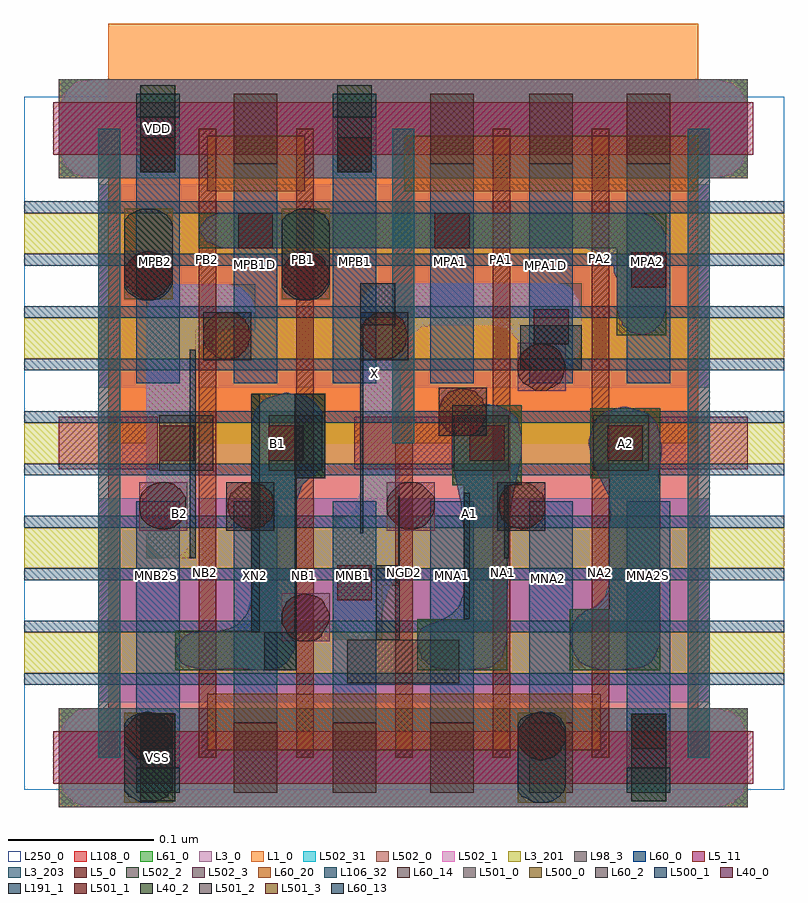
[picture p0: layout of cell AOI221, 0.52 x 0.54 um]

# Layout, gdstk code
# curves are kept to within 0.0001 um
import gdstk
lib = gdstk.Library(unit=1e-6, precision=1e-09)
def R(c, l, rs):  # rectangles x0, y0, x1, y1
    for r in rs: c.add(gdstk.rectangle(r[:2], r[2:], *l))
def A(c, l, x, y, w, h, nx, ny, dx, dy):  # array of equal rectangles
    R(c, l, [(x+i*dx, y+j*dy, x+i*dx+w, y+j*dy+h) for i in range(nx) for j in range(ny)])
def P(c, l, *ps):  # polygons
    for p in ps: c.add(gdstk.Polygon(p, *l))
L1_0 = (1, 0)
L3_0 = (3, 0)
L3_201 = (3, 201)
L3_203 = (3, 203)
L5_0 = (5, 0)
L5_11 = (5, 11)
L40_0 = (40, 0)
L40_2 = (40, 2)
L60_0 = (60, 0)
L60_2 = (60, 2)
L60_13 = (60, 13)
L60_14 = (60, 14)
L60_20 = (60, 20)
L61_0 = (61, 0)
L98_3 = (98, 3)
L106_32 = (106, 32)
L108_0 = (108, 0)
L191_1 = (191, 1)
L250_0 = (250, 0)
L500_0 = (500, 0)
L500_1 = (500, 1)
L501_0 = (501, 0)
L501_1 = (501, 1)
L501_2 = (501, 2)
L501_3 = (501, 3)
L502_0 = (502, 0)
L502_1 = (502, 1)
L502_2 = (502, 2)
L502_3 = (502, 3)
L502_31 = (502, 31)

aoi221 = lib.new_cell('AOI221')
R(aoi221, L1_0, [(0,0.216,0.405,0.504)])
R(aoi221, L3_0, [(-0.007,0.038,0.413,0.178), (-0.007,0.254,0.413,0.394)])
A(aoi221, L3_201, -0.058, 0.058, 0.522, 0.028, 1, 5, 0, 0.072)
A(aoi221, L3_203, -0.058, 0.05, 0.522, 0.008, 1, 10, 0, 0.036)
R(aoi221, L5_0, [(-0.007,0,0.008,0.432), (0.062,0,0.074,0.432), (0.129,0,0.141,0.432), (0.264,0,0.276,0.432), (0.332,0,0.344,0.432), (0.398,0,0.413,0.432)])
P(aoi221, L5_0, [(0.21,0.432),(0.21,0.216),(0.209,0.216),(0.209,0),(0.197,0),(0.197,0.216),(0.195,0.216),(0.195,0.432)])
R(aoi221, L5_11, [(-0.038,-0.018,0.443,0.018), (-0.034,0.198,0.034,0.234), (0.169,0.198,0.236,0.234), (0.371,0.198,0.439,0.234), (-0.038,0.414,0.443,0.45)])
R(aoi221, L40_0, [(0.022,0.006,0.046,0.03), (0.359,0.006,0.383,0.03), (0.157,0.108,0.181,0.132), (0.035,0.204,0.059,0.228), (0.11,0.204,0.134,0.228), (0.248,0.204,0.272,0.228), (0.343,0.204,0.367,0.228), (0.292,0.284,0.316,0.308), (0.359,0.323,0.383,0.347), (0.089,0.35,0.113,0.374), (0.224,0.35,0.248,0.374), (0.022,0.402,0.046,0.426), (0.157,0.402,0.181,0.426)])
R(aoi221, L40_2, [(0.022,-0.03,0.046,0.03), (0.359,-0.03,0.383,0.03), (0.022,0.402,0.046,0.462), (0.157,0.402,0.181,0.462)])
R(aoi221, L60_0, [(0.019,-0.007,0.049,0.176), (0.356,-0.007,0.386,0.176), (0.086,0.024,0.116,0.176), (0.154,0.024,0.184,0.176), (0.221,0.024,0.251,0.176), (0.289,0.024,0.319,0.176), (0.019,0.257,0.049,0.44), (0.086,0.257,0.116,0.408), (0.154,0.257,0.184,0.44), (0.221,0.257,0.251,0.408), (0.289,0.257,0.319,0.408), (0.356,0.257,0.386,0.408)])
R(aoi221, L60_2, [(0.164,0.051,0.241,0.081), (0.035,0.197,0.072,0.235), (0.11,0.197,0.147,0.235), (0.237,0.197,0.275,0.235), (0.333,0.197,0.371,0.235)])
R(aoi221, L60_13, [(0.019,-0.024,0.049,-0.007), (0.356,-0.024,0.386,-0.007), (0.019,0.44,0.049,0.456), (0.154,0.44,0.184,0.456)])
R(aoi221, L60_14, [(0.086,-0.024,0.116,0.024), (0.154,-0.024,0.184,0.024), (0.221,-0.024,0.251,0.024), (0.289,-0.024,0.319,0.024), (0.086,0.408,0.116,0.456), (0.221,0.408,0.251,0.456), (0.289,0.408,0.319,0.456), (0.356,0.408,0.386,0.456)])
R(aoi221, L60_20, [(0.068,0.005,0.338,0.044), (0.068,0.389,0.135,0.427), (0.203,0.389,0.405,0.427)])
R(aoi221, L61_0, [(-0.034,-0.034,0.439,0.034), (-0.034,0.398,0.439,0.466)])
P(aoi221, L61_0, [(0.149,0.25),(0.149,0.192),(0.129,0.192),(0.129,0.06),(0.046,0.06),(0.046,0.087),(0.098,0.087),(0.098,0.25)],
  [(0.101,0.325),(0.101,0.294),(0.06,0.294),(0.06,0.137),(0.026,0.137),(0.026,0.325)],
  [(0.379,0.24),(0.379,0.06),(0.317,0.06),(0.317,0.102),(0.344,0.102),(0.344,0.192),(0.331,0.192),(0.331,0.24)],
  [(0.284,0.242),(0.284,0.187),(0.275,0.187),(0.275,0.137),(0.274,0.137),(0.274,0.06),(0.212,0.06),(0.212,0.095),(0.244,0.095),(0.244,0.187),(0.236,0.187),(0.236,0.242)],
  [(0.383,0.374),(0.383,0.29),(0.349,0.29),(0.349,0.35),(0.062,0.35),(0.062,0.374)],
  [(0.325,0.326),(0.325,0.266),(0.283,0.266),(0.283,0.297),(0.2,0.297),(0.2,0.118),(0.188,0.118),(0.188,0.081),(0.154,0.081),(0.154,0.165),(0.173,0.165),(0.173,0.326)])
R(aoi221, L98_3, [(-0.034,-0.034,0.439,0.034), (-0.034,0.398,0.439,0.466)])
R(aoi221, L106_32, [(-0.007,0,0.008,0.432), (0.398,0,0.413,0.432), (0.195,0.216,0.21,0.432)])
R(aoi221, L108_0, [(0,0,0.405,0.432)])
R(aoi221, L191_1, [(0.098,0.086,0.104,0.25), (0.244,0.095,0.248,0.182), (0.056,0.137,0.06,0.28), (0.272,0.137,0.275,0.187), (0.283,0.266,0.325,0.297)])
P(aoi221, L191_1, [(0.149,0.25),(0.149,0.192),(0.129,0.192),(0.129,0.06),(0.107,0.06),(0.107,0.086),(0.128,0.086),(0.128,0.25)],
  [(0.197,0.326),(0.197,0.297),(0.175,0.297),(0.175,0.154),(0.173,0.154),(0.173,0.326)],
  [(0.2,0.18),(0.2,0.081),(0.184,0.081),(0.184,0.132),(0.199,0.132),(0.199,0.18)])
R(aoi221, L250_0, [(-0.058,-0.022,0.464,0.454)])
R(aoi221, L500_0, [(0.011,-0.031,0.044,0.031), (0.281,-0.031,0.314,0.031), (0.011,0.315,0.044,0.377), (0.119,0.315,0.152,0.377)])
P(aoi221, L500_1, [(0.027,0.377),(0.023,0.377),(0.02,0.376),(0.014,0.373),(0.013,0.371),(0.011,0.369),(0.011,0.323),(0.013,0.32),(0.014,0.319),(0.02,0.315),(0.023,0.314),(0.031,0.314),(0.035,0.315),(0.038,0.317),(0.041,0.32),(0.043,0.323),(0.044,0.326),(0.044,0.365),(0.043,0.369),(0.041,0.371),(0.04,0.373),(0.038,0.374),(0.035,0.376),(0.031,0.377)],
  [(0.027,0.032),(0.023,0.031),(0.017,0.029),(0.014,0.027),(0.013,0.026),(0.011,0.023),(0.011,-0.023),(0.013,-0.025),(0.014,-0.027),(0.017,-0.028),(0.02,-0.03),(0.023,-0.031),(0.031,-0.031),(0.034,-0.03),(0.038,-0.028),(0.041,-0.027),(0.041,-0.025),(0.043,-0.023),(0.044,-0.019),(0.044,0.02),(0.043,0.023),(0.041,0.026),(0.041,0.027),(0.038,0.029),(0.035,0.03)],
  [(0.297,0.032),(0.293,0.031),(0.287,0.029),(0.284,0.027),(0.283,0.026),(0.281,0.023),(0.281,-0.023),(0.283,-0.025),(0.284,-0.027),(0.287,-0.028),(0.29,-0.03),(0.293,-0.031),(0.301,-0.031),(0.305,-0.03),(0.308,-0.028),(0.31,-0.027),(0.311,-0.025),(0.313,-0.023),(0.314,-0.019),(0.314,0.02),(0.313,0.023),(0.311,0.026),(0.311,0.027),(0.305,0.031),(0.301,0.031)],
  [(0.135,0.377),(0.131,0.377),(0.128,0.376),(0.125,0.374),(0.122,0.373),(0.121,0.371),(0.119,0.369),(0.119,0.323),(0.121,0.32),(0.122,0.319),(0.128,0.315),(0.131,0.314),(0.139,0.314),(0.143,0.315),(0.146,0.317),(0.149,0.32),(0.151,0.323),(0.152,0.326),(0.152,0.365),(0.151,0.369),(0.149,0.371),(0.149,0.373),(0.146,0.374),(0.143,0.376),(0.139,0.377)])
R(aoi221, L501_0, [(0.011,-0.002,0.044,0.031), (0.281,-0.002,0.314,0.031), (0.119,0.08,0.152,0.113), (0.021,0.156,0.054,0.189), (0.191,0.156,0.224,0.189), (0.281,0.252,0.314,0.285), (0.011,0.315,0.044,0.348), (0.119,0.315,0.152,0.348)])
P(aoi221, L501_1, [(0.297,0.031),(0.293,0.031),(0.287,0.027),(0.284,0.023),(0.281,0.02),(0.281,0.009),(0.283,0.007),(0.284,0.005),(0.287,0.002),(0.29,0),(0.293,-0.001),(0.297,-0.002),(0.305,0),(0.308,0.002),(0.311,0.005),(0.311,0.007),(0.313,0.009),(0.314,0.013),(0.314,0.017),(0.313,0.02),(0.311,0.022),(0.311,0.023),(0.308,0.027),(0.305,0.029),(0.301,0.031)],
  [(0.207,0.189),(0.203,0.189),(0.2,0.188),(0.194,0.182),(0.192,0.179),(0.191,0.175),(0.191,0.171),(0.192,0.167),(0.194,0.164),(0.2,0.158),(0.203,0.157),(0.211,0.157),(0.215,0.158),(0.218,0.16),(0.221,0.164),(0.223,0.167),(0.224,0.171),(0.224,0.179),(0.215,0.188),(0.211,0.189)],
  [(0.135,0.348),(0.131,0.347),(0.128,0.346),(0.125,0.344),(0.122,0.341),(0.121,0.339),(0.119,0.337),(0.119,0.326),(0.121,0.323),(0.122,0.323),(0.125,0.319),(0.131,0.315),(0.139,0.315),(0.143,0.317),(0.146,0.319),(0.149,0.323),(0.151,0.326),(0.152,0.329),(0.152,0.333),(0.151,0.337),(0.149,0.339),(0.149,0.341),(0.146,0.344),(0.143,0.346)],
  [(0.297,0.285),(0.293,0.284),(0.29,0.283),(0.287,0.281),(0.285,0.279),(0.283,0.276),(0.282,0.275),(0.281,0.272),(0.281,0.265),(0.282,0.261),(0.283,0.26),(0.285,0.257),(0.287,0.256),(0.293,0.252),(0.301,0.252),(0.304,0.254),(0.305,0.254),(0.308,0.256),(0.31,0.257),(0.312,0.261),(0.314,0.269),(0.312,0.275),(0.31,0.279),(0.308,0.281),(0.305,0.283)],
  [(0.027,0.031),(0.023,0.031),(0.017,0.027),(0.014,0.023),(0.011,0.02),(0.011,0.009),(0.013,0.007),(0.014,0.005),(0.02,-0.001),(0.025,-0.001),(0.027,-0.002),(0.035,0),(0.038,0.002),(0.041,0.005),(0.041,0.007),(0.043,0.009),(0.044,0.013),(0.044,0.017),(0.043,0.02),(0.041,0.022),(0.041,0.023),(0.038,0.027),(0.035,0.029),(0.031,0.031)],
  [(0.038,0.189),(0.035,0.189),(0.031,0.188),(0.027,0.186),(0.023,0.182),(0.022,0.179),(0.021,0.175),(0.021,0.171),(0.022,0.167),(0.023,0.164),(0.027,0.16),(0.031,0.158),(0.035,0.157),(0.041,0.157),(0.045,0.158),(0.047,0.16),(0.049,0.161),(0.053,0.167),(0.053,0.179),(0.049,0.185),(0.048,0.185),(0.045,0.188),(0.041,0.189)],
  [(0.027,0.348),(0.023,0.347),(0.02,0.346),(0.017,0.344),(0.014,0.341),(0.013,0.339),(0.011,0.337),(0.011,0.326),(0.013,0.323),(0.014,0.323),(0.017,0.319),(0.023,0.315),(0.031,0.315),(0.035,0.317),(0.038,0.319),(0.041,0.323),(0.043,0.326),(0.044,0.329),(0.044,0.333),(0.043,0.337),(0.041,0.339),(0.041,0.341),(0.038,0.344),(0.035,0.346)],
  [(0.135,0.113),(0.131,0.112),(0.128,0.111),(0.126,0.11),(0.125,0.109),(0.122,0.107),(0.121,0.104),(0.12,0.103),(0.119,0.099),(0.119,0.092),(0.121,0.089),(0.123,0.085),(0.125,0.083),(0.128,0.081),(0.131,0.08),(0.139,0.08),(0.143,0.081),(0.146,0.083),(0.149,0.089),(0.151,0.092),(0.152,0.095),(0.152,0.099),(0.15,0.103),(0.149,0.104),(0.148,0.107),(0.146,0.109),(0.144,0.11),(0.143,0.111)])
R(aoi221, L501_2, [(0.081,0.156,0.114,0.189), (0.267,0.156,0.3,0.189), (0.227,0.221,0.26,0.254), (0.065,0.273,0.098,0.306), (0.173,0.273,0.206,0.306)])
P(aoi221, L501_3, [(0.099,0.189),(0.095,0.189),(0.092,0.188),(0.089,0.186),(0.085,0.182),(0.084,0.182),(0.083,0.179),(0.082,0.175),(0.082,0.171),(0.083,0.167),(0.084,0.164),(0.085,0.164),(0.087,0.161),(0.089,0.16),(0.092,0.158),(0.095,0.157),(0.099,0.157),(0.107,0.159),(0.108,0.161),(0.11,0.162),(0.112,0.164),(0.113,0.167),(0.114,0.171),(0.114,0.175),(0.113,0.179),(0.112,0.182),(0.11,0.184),(0.108,0.185),(0.107,0.187)],
  [(0.081,0.306),(0.077,0.306),(0.074,0.305),(0.071,0.302),(0.069,0.301),(0.066,0.297),(0.065,0.293),(0.065,0.287),(0.066,0.283),(0.067,0.282),(0.069,0.279),(0.071,0.278),(0.074,0.275),(0.077,0.274),(0.081,0.273),(0.089,0.275),(0.092,0.278),(0.094,0.279),(0.095,0.282),(0.096,0.283),(0.097,0.287),(0.098,0.29),(0.097,0.293),(0.096,0.297),(0.095,0.298),(0.094,0.301),(0.092,0.302),(0.089,0.305),(0.085,0.306)],
  [(0.189,0.306),(0.185,0.306),(0.182,0.305),(0.179,0.302),(0.177,0.301),(0.175,0.298),(0.174,0.297),(0.173,0.293),(0.173,0.287),(0.174,0.283),(0.175,0.282),(0.177,0.279),(0.179,0.278),(0.182,0.275),(0.185,0.274),(0.193,0.274),(0.197,0.275),(0.2,0.278),(0.202,0.279),(0.203,0.282),(0.204,0.283),(0.205,0.287),(0.206,0.29),(0.205,0.293),(0.204,0.297),(0.203,0.298),(0.202,0.301),(0.2,0.302),(0.197,0.305),(0.193,0.306)],
  [(0.283,0.189),(0.275,0.187),(0.27,0.182),(0.269,0.179),(0.268,0.175),(0.268,0.171),(0.269,0.167),(0.27,0.164),(0.272,0.162),(0.274,0.161),(0.275,0.159),(0.283,0.157),(0.287,0.157),(0.29,0.158),(0.293,0.16),(0.294,0.161),(0.297,0.163),(0.298,0.164),(0.299,0.167),(0.3,0.171),(0.3,0.175),(0.299,0.179),(0.298,0.182),(0.297,0.182),(0.293,0.186),(0.29,0.188),(0.287,0.189)],
  [(0.243,0.254),(0.239,0.253),(0.233,0.251),(0.233,0.25),(0.23,0.247),(0.228,0.243),(0.227,0.239),(0.227,0.233),(0.229,0.23),(0.229,0.229),(0.232,0.225),(0.233,0.224),(0.236,0.222),(0.239,0.221),(0.247,0.221),(0.251,0.222),(0.254,0.224),(0.254,0.225),(0.257,0.229),(0.259,0.233),(0.26,0.236),(0.26,0.239),(0.257,0.245),(0.257,0.247),(0.254,0.249),(0.253,0.251),(0.251,0.252)])
R(aoi221, L502_0, [(-0.034,-0.034,0.439,0.034), (-0.034,0.398,0.439,0.466)])
P(aoi221, L502_0, [(0.101,0.325),(0.026,0.325),(0.026,0.137),(0.06,0.137),(0.06,0.294),(0.101,0.294)],
  [(0.325,0.326),(0.173,0.326),(0.173,0.165),(0.154,0.165),(0.154,0.081),(0.188,0.081),(0.188,0.118),(0.2,0.118),(0.2,0.297),(0.283,0.297),(0.283,0.266),(0.325,0.266)])
P(aoi221, L502_1, [(0.237,0.326),(0.19,0.326),(0.187,0.325),(0.183,0.324),(0.181,0.323),(0.177,0.319),(0.173,0.311),(0.173,0.182),(0.172,0.179),(0.17,0.175),(0.169,0.171),(0.165,0.167),(0.158,0.161),(0.155,0.157),(0.154,0.153),(0.154,0.099),(0.155,0.095),(0.156,0.092),(0.158,0.089),(0.161,0.085),(0.162,0.085),(0.165,0.083),(0.173,0.081),(0.176,0.081),(0.182,0.085),(0.183,0.086),(0.185,0.089),(0.187,0.095),(0.188,0.103),(0.19,0.107),(0.192,0.113),(0.196,0.121),(0.197,0.125),(0.199,0.128),(0.2,0.131),(0.2,0.135),(0.201,0.139),(0.201,0.149),(0.2,0.157),(0.2,0.236),(0.201,0.243),(0.2,0.254),(0.2,0.275),(0.201,0.279),(0.205,0.287),(0.209,0.291),(0.212,0.293),(0.215,0.296),(0.219,0.296),(0.223,0.297),(0.266,0.297),(0.269,0.296),(0.273,0.295),(0.275,0.293),(0.277,0.292),(0.278,0.29),(0.281,0.287),(0.282,0.283),(0.286,0.275),(0.288,0.272),(0.291,0.269),(0.293,0.269),(0.295,0.267),(0.299,0.266),(0.305,0.266),(0.309,0.267),(0.313,0.269),(0.317,0.27),(0.322,0.275),(0.325,0.287),(0.325,0.305),(0.323,0.311),(0.323,0.315),(0.32,0.319),(0.32,0.32),(0.317,0.323),(0.313,0.325),(0.309,0.326)],
  [(0.41,0.466),(-0.011,0.466),(-0.015,0.465),(-0.019,0.465),(-0.022,0.464),(-0.024,0.463),(-0.025,0.461),(-0.028,0.459),(-0.029,0.458),(-0.031,0.455),(-0.033,0.449),(-0.034,0.445),(-0.034,0.419),(-0.032,0.413),(-0.031,0.409),(-0.029,0.407),(-0.028,0.405),(-0.025,0.403),(-0.024,0.401),(-0.022,0.401),(-0.019,0.399),(-0.015,0.399),(-0.011,0.398),(0.419,0.398),(0.42,0.399),(0.425,0.4),(0.428,0.401),(0.429,0.401),(0.431,0.404),(0.434,0.405),(0.436,0.409),(0.437,0.413),(0.439,0.419),(0.439,0.445),(0.438,0.449),(0.436,0.455),(0.434,0.459),(0.431,0.461),(0.428,0.464),(0.425,0.464),(0.421,0.465),(0.419,0.466)],
  [(0.079,0.325),(0.043,0.325),(0.039,0.323),(0.035,0.322),(0.032,0.319),(0.029,0.315),(0.029,0.314),(0.028,0.311),(0.026,0.308),(0.026,0.153),(0.027,0.149),(0.031,0.143),(0.032,0.141),(0.035,0.139),(0.039,0.137),(0.047,0.137),(0.053,0.141),(0.054,0.143),(0.057,0.146),(0.059,0.149),(0.059,0.153),(0.06,0.157),(0.06,0.161),(0.061,0.164),(0.06,0.182),(0.06,0.272),(0.061,0.275),(0.063,0.283),(0.065,0.284),(0.065,0.287),(0.068,0.289),(0.07,0.29),(0.071,0.291),(0.075,0.293),(0.078,0.293),(0.086,0.296),(0.089,0.296),(0.092,0.297),(0.093,0.298),(0.097,0.3),(0.098,0.301),(0.1,0.305),(0.101,0.308),(0.1,0.311),(0.098,0.315),(0.097,0.318),(0.096,0.319),(0.093,0.321),(0.092,0.323),(0.089,0.323),(0.083,0.325)],
  [(-0.004,0.034),(-0.012,0.034),(-0.016,0.033),(-0.019,0.033),(-0.022,0.032),(-0.024,0.031),(-0.025,0.029),(-0.028,0.027),(-0.029,0.026),(-0.031,0.023),(-0.033,0.017),(-0.034,0.013),(-0.034,-0.009),(-0.033,-0.016),(-0.032,-0.019),(-0.031,-0.023),(-0.029,-0.025),(-0.028,-0.027),(-0.025,-0.029),(-0.024,-0.031),(-0.022,-0.031),(-0.019,-0.033),(-0.016,-0.033),(-0.011,-0.034),(0.419,-0.034),(0.421,-0.033),(0.425,-0.032),(0.428,-0.031),(0.429,-0.031),(0.431,-0.028),(0.434,-0.027),(0.436,-0.023),(0.437,-0.019),(0.439,-0.013),(0.439,0.013),(0.438,0.017),(0.436,0.023),(0.434,0.027),(0.431,0.029),(0.428,0.032),(0.425,0.032),(0.421,0.033),(0.419,0.034)])
P(aoi221, L502_2, [(0.149,0.25),(0.098,0.25),(0.098,0.087),(0.046,0.087),(0.046,0.06),(0.129,0.06),(0.129,0.192),(0.149,0.192)],
  [(0.383,0.374),(0.062,0.374),(0.062,0.35),(0.349,0.35),(0.349,0.29),(0.383,0.29)],
  [(0.379,0.24),(0.331,0.24),(0.331,0.192),(0.344,0.192),(0.344,0.102),(0.317,0.102),(0.317,0.06),(0.379,0.06)],
  [(0.284,0.242),(0.236,0.242),(0.236,0.187),(0.244,0.187),(0.244,0.095),(0.212,0.095),(0.212,0.06),(0.274,0.06),(0.274,0.137),(0.275,0.137),(0.275,0.187),(0.284,0.187)])
P(aoi221, L502_3, [(0.356,0.241),(0.353,0.241),(0.341,0.238),(0.338,0.235),(0.335,0.233),(0.335,0.23),(0.333,0.229),(0.331,0.221),(0.33,0.218),(0.33,0.215),(0.331,0.211),(0.331,0.207),(0.332,0.203),(0.334,0.2),(0.335,0.197),(0.341,0.185),(0.343,0.182),(0.344,0.179),(0.344,0.171),(0.345,0.167),(0.344,0.161),(0.344,0.117),(0.343,0.113),(0.341,0.11),(0.335,0.104),(0.327,0.101),(0.325,0.099),(0.323,0.098),(0.321,0.095),(0.32,0.094),(0.319,0.092),(0.318,0.089),(0.317,0.085),(0.317,0.081),(0.318,0.077),(0.32,0.071),(0.323,0.067),(0.323,0.066),(0.328,0.063),(0.338,0.06),(0.353,0.06),(0.359,0.061),(0.363,0.061),(0.367,0.062),(0.371,0.064),(0.374,0.067),(0.376,0.071),(0.377,0.074),(0.379,0.077),(0.379,0.185),(0.378,0.193),(0.38,0.211),(0.38,0.215),(0.379,0.218),(0.379,0.221),(0.377,0.229),(0.374,0.233),(0.371,0.236),(0.367,0.238),(0.359,0.24)],
  [(0.259,0.243),(0.255,0.242),(0.251,0.242),(0.248,0.24),(0.246,0.239),(0.245,0.239),(0.239,0.233),(0.237,0.229),(0.236,0.225),(0.236,0.203),(0.242,0.175),(0.243,0.164),(0.244,0.157),(0.244,0.113),(0.241,0.104),(0.236,0.099),(0.23,0.095),(0.221,0.092),(0.215,0.089),(0.213,0.085),(0.212,0.081),(0.212,0.077),(0.213,0.074),(0.215,0.071),(0.215,0.068),(0.217,0.067),(0.221,0.063),(0.223,0.062),(0.227,0.061),(0.23,0.061),(0.233,0.06),(0.248,0.06),(0.255,0.061),(0.259,0.061),(0.263,0.062),(0.266,0.065),(0.269,0.067),(0.27,0.068),(0.273,0.077),(0.274,0.081),(0.274,0.11),(0.275,0.139),(0.275,0.153),(0.277,0.175),(0.279,0.185),(0.284,0.207),(0.284,0.221),(0.281,0.233),(0.277,0.237),(0.269,0.241),(0.266,0.242),(0.263,0.242)],
  [(0.122,0.251),(0.119,0.25),(0.111,0.248),(0.108,0.247),(0.104,0.243),(0.101,0.239),(0.099,0.233),(0.098,0.229),(0.098,0.131),(0.099,0.117),(0.098,0.113),(0.098,0.107),(0.097,0.103),(0.095,0.099),(0.093,0.096),(0.089,0.092),(0.086,0.09),(0.083,0.089),(0.075,0.087),(0.065,0.087),(0.061,0.086),(0.057,0.086),(0.053,0.084),(0.05,0.081),(0.047,0.077),(0.046,0.074),(0.047,0.071),(0.05,0.065),(0.053,0.063),(0.065,0.06),(0.071,0.06),(0.083,0.061),(0.089,0.061),(0.101,0.06),(0.111,0.06),(0.119,0.062),(0.119,0.063),(0.122,0.065),(0.124,0.067),(0.126,0.071),(0.128,0.074),(0.128,0.077),(0.129,0.081),(0.129,0.175),(0.13,0.179),(0.132,0.185),(0.133,0.187),(0.139,0.193),(0.143,0.196),(0.147,0.2),(0.148,0.203),(0.149,0.207),(0.149,0.229),(0.148,0.233),(0.146,0.239),(0.143,0.243),(0.139,0.247),(0.137,0.248),(0.129,0.25),(0.125,0.25)],
  [(0.356,0.374),(0.075,0.374),(0.072,0.373),(0.068,0.371),(0.066,0.369),(0.065,0.367),(0.063,0.365),(0.062,0.362),(0.064,0.359),(0.065,0.358),(0.067,0.355),(0.068,0.354),(0.071,0.353),(0.075,0.351),(0.079,0.35),(0.331,0.35),(0.335,0.348),(0.341,0.344),(0.344,0.341),(0.345,0.339),(0.347,0.337),(0.347,0.333),(0.349,0.329),(0.349,0.308),(0.35,0.305),(0.351,0.301),(0.353,0.299),(0.353,0.297),(0.356,0.295),(0.357,0.293),(0.359,0.292),(0.367,0.29),(0.371,0.291),(0.374,0.293),(0.375,0.293),(0.377,0.296),(0.379,0.297),(0.381,0.301),(0.382,0.305),(0.383,0.308),(0.383,0.359),(0.381,0.362),(0.38,0.365),(0.374,0.371),(0.371,0.373),(0.368,0.374)])
P(aoi221, L502_31, [(0.274,0.097),(0.274,0.081),(0.272,0.074),(0.27,0.068),(0.263,0.063),(0.264,0.063),(0.259,0.061),(0.233,0.06),(0.227,0.061),(0.219,0.065),(0.22,0.065),(0.215,0.068),(0.213,0.074),(0.214,0.074),(0.212,0.077),(0.213,0.085),(0.215,0.089),(0.219,0.091),(0.221,0.091),(0.233,0.097)],
  [(0.274,0.113),(0.274,0.097),(0.233,0.097),(0.24,0.103),(0.244,0.113)],
  [(0.275,0.153),(0.274,0.113),(0.244,0.113),(0.244,0.153)],
  [(0.379,0.099),(0.379,0.085),(0.317,0.085),(0.32,0.094),(0.325,0.099)],
  [(0.379,0.085),(0.379,0.077),(0.376,0.071),(0.377,0.071),(0.373,0.066),(0.37,0.064),(0.327,0.064),(0.323,0.066),(0.32,0.071),(0.32,0.071),(0.317,0.081),(0.317,0.085)],
  [(0.371,0.064),(0.363,0.061),(0.335,0.061),(0.331,0.062),(0.332,0.062),(0.328,0.063),(0.329,0.063),(0.327,0.064)],
  [(0.379,0.104),(0.379,0.099),(0.326,0.099),(0.327,0.101),(0.335,0.104)],
  [(0.379,0.11),(0.379,0.104),(0.335,0.104),(0.341,0.11)],
  [(0.379,0.161),(0.379,0.11),(0.341,0.11),(0.344,0.121),(0.344,0.161)],
  [(0.283,0.203),(0.277,0.175),(0.275,0.153),(0.244,0.153),(0.242,0.175),(0.236,0.203)],
  [(0.268,0.242),(0.277,0.237),(0.281,0.233),(0.284,0.221),(0.284,0.215),(0.283,0.203),(0.236,0.203),(0.236,0.221),(0.237,0.229),(0.238,0.229),(0.239,0.233),(0.245,0.239),(0.251,0.242)],
  [(0.259,0.243),(0.268,0.242),(0.253,0.242)],
  [(0.325,0.297),(0.325,0.287),(0.322,0.275),(0.319,0.272),(0.314,0.269),(0.315,0.269),(0.305,0.266),(0.295,0.267),(0.291,0.269),(0.292,0.269),(0.288,0.272),(0.284,0.279),(0.281,0.287),(0.278,0.29),(0.279,0.29),(0.275,0.293),(0.273,0.295),(0.266,0.297)],
  [(0.302,0.326),(0.315,0.324),(0.317,0.323),(0.321,0.317),(0.176,0.317),(0.181,0.323),(0.182,0.323),(0.183,0.324),(0.194,0.326)],
  [(0.321,0.317),(0.323,0.315),(0.325,0.305),(0.325,0.297),(0.173,0.297),(0.173,0.311),(0.174,0.311),(0.176,0.317)],
  [(0.377,0.229),(0.379,0.221),(0.38,0.207),(0.379,0.2),(0.334,0.2),(0.331,0.207),(0.33,0.218),(0.332,0.225),(0.332,0.225),(0.333,0.229)],
  [(0.379,0.2),(0.378,0.197),(0.335,0.197),(0.334,0.2)],
  [(0.378,0.197),(0.379,0.189),(0.379,0.161),(0.344,0.161),(0.345,0.167),(0.344,0.179),(0.335,0.197)],
  [(0.356,0.241),(0.367,0.238),(0.374,0.233),(0.377,0.229),(0.333,0.229),(0.335,0.23),(0.335,0.233),(0.341,0.238),(0.353,0.241)],
  [(0.383,0.35),(0.383,0.333),(0.348,0.333),(0.347,0.337),(0.341,0.344),(0.327,0.35)],
  [(0.383,0.333),(0.383,0.311),(0.38,0.299),(0.379,0.297),(0.374,0.293),(0.375,0.293),(0.37,0.291),(0.371,0.291),(0.367,0.29),(0.359,0.292),(0.357,0.293),(0.358,0.293),(0.353,0.297),(0.353,0.299),(0.351,0.301),(0.349,0.308),(0.349,0.329),(0.347,0.333)],
  [(0.061,0.061),(0.083,0.061),(0.071,0.06),(0.065,0.06)],
  [(0.129,0.084),(0.128,0.074),(0.124,0.067),(0.119,0.063),(0.116,0.062),(0.117,0.062),(0.115,0.061),(0.061,0.061),(0.057,0.062),(0.059,0.062),(0.053,0.063),(0.054,0.063),(0.05,0.065),(0.047,0.069),(0.048,0.069),(0.046,0.074),(0.047,0.077),(0.048,0.077),(0.05,0.081),(0.053,0.084)],
  [(0.129,0.087),(0.129,0.084),(0.054,0.084),(0.065,0.087)],
  [(0.129,0.099),(0.129,0.087),(0.075,0.087),(0.083,0.089),(0.089,0.092),(0.095,0.099)],
  [(0.115,0.061),(0.101,0.06),(0.089,0.061)],
  [(0.419,0.034),(0.428,0.031),(0.434,0.027),(0.437,0.02),(0.439,0.013),(-0.034,0.013),(-0.032,0.02),(-0.031,0.02),(-0.028,0.027),(-0.022,0.032),(-0.019,0.033),(-0.012,0.034)],
  [(0.439,0.013),(0.439,-0.013),(0.437,-0.019),(0.434,-0.027),(0.429,-0.031),(0.423,-0.032),(0.425,-0.032),(0.419,-0.034),(-0.011,-0.034),(-0.021,-0.032),(-0.02,-0.032),(-0.024,-0.031),(-0.028,-0.027),(-0.032,-0.019),(-0.031,-0.019),(-0.034,-0.013),(-0.034,0.013)],
  [(0.098,0.11),(0.129,0.11),(0.129,0.099),(0.095,0.099)],
  [(0.129,0.175),(0.129,0.11),(0.098,0.11),(0.099,0.117),(0.098,0.131),(0.098,0.175)],
  [(0.201,0.153),(0.201,0.139),(0.199,0.128),(0.192,0.113),(0.185,0.092),(0.186,0.092),(0.179,0.083),(0.176,0.081),(0.165,0.083),(0.161,0.085),(0.158,0.089),(0.155,0.095),(0.154,0.099),(0.154,0.153)],
  [(0.2,0.236),(0.2,0.157),(0.201,0.153),(0.154,0.153),(0.155,0.157),(0.158,0.16),(0.165,0.167),(0.169,0.171),(0.173,0.182),(0.173,0.236)],
  [(0.06,0.272),(0.06,0.182),(0.061,0.164),(0.06,0.157),(0.058,0.149),(0.059,0.149),(0.057,0.146),(0.053,0.141),(0.045,0.137),(0.047,0.137),(0.039,0.137),(0.041,0.137),(0.035,0.139),(0.036,0.139),(0.032,0.141),(0.027,0.149),(0.028,0.149),(0.026,0.157),(0.026,0.272)],
  [(0.026,0.283),(0.063,0.283),(0.06,0.272),(0.026,0.272)],
  [(0.1,0.305),(0.097,0.3),(0.091,0.297),(0.092,0.297),(0.089,0.296),(0.071,0.291),(0.07,0.29),(0.068,0.289),(0.065,0.287),(0.065,0.284),(0.063,0.283),(0.026,0.283),(0.026,0.305)],
  [(0.092,0.322),(0.097,0.318),(0.099,0.311),(0.1,0.311),(0.101,0.308),(0.1,0.305),(0.026,0.305),(0.031,0.318),(0.035,0.322)],
  [(0.083,0.325),(0.092,0.322),(0.036,0.322),(0.043,0.325)],
  [(0.122,0.251),(0.139,0.247),(0.143,0.243),(0.146,0.239),(0.149,0.229),(0.149,0.207),(0.147,0.2),(0.143,0.196),(0.133,0.187),(0.129,0.175),(0.098,0.175),(0.098,0.229),(0.101,0.239),(0.102,0.239),(0.104,0.243),(0.111,0.248)],
  [(0.2,0.269),(0.201,0.243),(0.2,0.236),(0.173,0.236),(0.173,0.269)],
  [(0.223,0.297),(0.215,0.296),(0.207,0.29),(0.208,0.29),(0.205,0.287),(0.201,0.279),(0.2,0.269),(0.173,0.269),(0.173,0.297)],
  [(0.419,0.466),(0.429,0.463),(0.431,0.461),(0.434,0.459),(0.437,0.452),(0.439,0.445),(-0.034,0.445),(-0.032,0.452),(-0.031,0.452),(-0.028,0.459),(-0.022,0.464),(-0.019,0.465),(-0.011,0.466)],
  [(0.439,0.445),(0.439,0.419),(0.437,0.413),(0.434,0.405),(0.429,0.401),(0.419,0.398),(-0.011,0.398),(-0.021,0.4),(-0.024,0.401),(-0.028,0.405),(-0.032,0.413),(-0.031,0.413),(-0.034,0.419),(-0.034,0.445)],
  [(0.364,0.374),(0.371,0.373),(0.376,0.369),(0.38,0.365),(0.383,0.355),(0.383,0.35),(0.079,0.35),(0.075,0.351),(0.077,0.351),(0.068,0.354),(0.067,0.355),(0.062,0.362),(0.063,0.365),(0.066,0.369),(0.067,0.369),(0.068,0.371),(0.079,0.374)],
  [(0.359,0.061),(0.338,0.06),(0.335,0.061)])
aoi221.add(gdstk.Label('MNA2', (0.302,0.123), layer=310, texttype=0))
aoi221.add(gdstk.Label('XN1', (0.309,0.123), layer=310, texttype=0))
aoi221.add(gdstk.Label('MNA2S', (0.371,0.125), layer=310, texttype=0))
aoi221.add(gdstk.Label('MPA1', (0.235,0.341), layer=310, texttype=0))
aoi221.add(gdstk.Label('MPA1D', (0.3,0.338), layer=310, texttype=0))
aoi221.add(gdstk.Label('MPA2', (0.37,0.341), layer=310, texttype=0))
aoi221.add(gdstk.Label('MPA2D', (0.304,0.341), layer=310, texttype=0))
aoi221.add(gdstk.Label('NB1', (0.135,0.125), layer=320, texttype=0))
aoi221.add(gdstk.Label('NB2', (0.067,0.127), layer=320, texttype=0))
aoi221.add(gdstk.Label('PB2', (0.068,0.342), layer=320, texttype=0))
aoi221.add(gdstk.Label('PB1', (0.134,0.342), layer=320, texttype=0))
aoi221.add(gdstk.Label('NGD2', (0.203,0.127), layer=320, texttype=0))
aoi221.add(gdstk.Label('NA1', (0.271,0.127), layer=320, texttype=0))
aoi221.add(gdstk.Label('NA2', (0.338,0.127), layer=320, texttype=0))
aoi221.add(gdstk.Label('PA1', (0.27,0.342), layer=320, texttype=0))
aoi221.add(gdstk.Label('PA2', (0.338,0.343), layer=320, texttype=0))
aoi221.add(gdstk.Label('VSS', (0.034,0), layer=161, texttype=0))
aoi221.add(gdstk.Label('B2', (0.049,0.168), layer=161, texttype=0))
aoi221.add(gdstk.Label('VDD', (0.034,0.432), layer=161, texttype=0))
aoi221.add(gdstk.Label('B1', (0.116,0.216), layer=161, texttype=0))
aoi221.add(gdstk.Label('A1', (0.248,0.168), layer=161, texttype=0))
aoi221.add(gdstk.Label('A2', (0.355,0.216), layer=161, texttype=0))
aoi221.add(gdstk.Label('X', (0.183,0.264), layer=161, texttype=0))
aoi221.add(gdstk.Label('HDBSVT16_AOI22_1', (0,0), layer=213, texttype=0))
aoi221.add(gdstk.Label('MNB2S', (0.033,0.125), layer=310, texttype=0))
aoi221.add(gdstk.Label('XN2', (0.101,0.125), layer=310, texttype=0))
aoi221.add(gdstk.Label('MNB2', (0.103,0.123), layer=310, texttype=0))
aoi221.add(gdstk.Label('MNB1', (0.168,0.125), layer=310, texttype=0))
aoi221.add(gdstk.Label('MPB2', (0.032,0.341), layer=310, texttype=0))
aoi221.add(gdstk.Label('MPB1D', (0.1,0.339), layer=310, texttype=0))
aoi221.add(gdstk.Label('MPB2D', (0.1,0.341), layer=310, texttype=0))
aoi221.add(gdstk.Label('MPB1', (0.17,0.341), layer=310, texttype=0))
aoi221.add(gdstk.Label('MNA1', (0.236,0.125), layer=310, texttype=0))

lib.write_gds('AOI221.gds')
